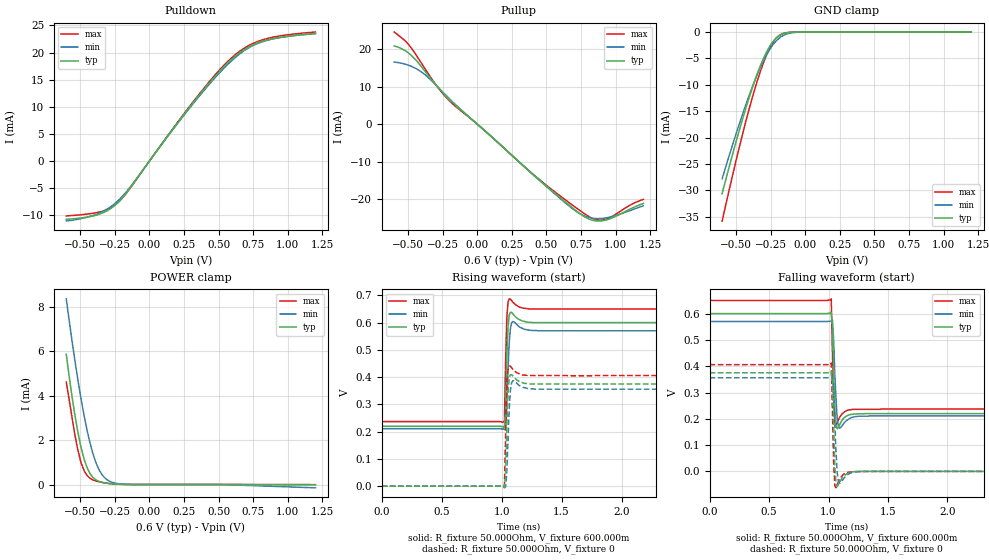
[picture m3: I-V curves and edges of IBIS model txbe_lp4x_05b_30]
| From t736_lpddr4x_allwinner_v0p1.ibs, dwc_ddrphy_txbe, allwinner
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[Model] txbe_lp4x_05b_30
Model_type   I/O
Polarity   Non-Inverting
Enable   Active-High
C_comp   1.525pF   1.517pF   1.533pF
C_comp_pullup   282.426fF   275.466fF   284.310fF
C_comp_pulldown 1.185pF   1.182pF   1.189pF
Vinh = 360.000mV
Vinl = 307.000mV
Vmeas = 300.000mV
Vref = 300.000mV
Rref = 50Ohms
Cref = 0pF
[Model Spec]
Vinh   360.000mV   345.000mV   450.000mV
Vinl   307.000mV   293.000mV   330.000mV
Vmeas   300.000mV   285.000mV   325.000mV
Vref   300.000mV   285.000mV   325.000mV
D_overshoot_ampl_h 0.1 NA   NA
D_overshoot_ampl_l 0.1 NA   NA
D_overshoot_area_l 300.000m NA   NA
D_overshoot_area_h 300.000m NA   NA
[Receiver Thresholds]
Vth = 163.000mV
Vth_min = 143.000mV
Vth_max = 150.000mV
Vinh_ac = 60.000mV
Vinh_dc = 60.000mV
Vinl_ac = -60.000mV
Vinl_dc = -60.000mV
Tslew_ac = 5.000ns
Threshold_sensitivity = 0.5
Reference_supply Pullup_ref
[Temperature Range]   25.000   125.000   -40.000
[Voltage Range]   600.000mV   570.000mV   650.000mV
[GND Clamp Reference]   0.00V   0.00V   0.00V
[C Comp Corner]
| variable   typ   min   max
C_comp 1.525pF   1.533pF   1.517pF
C_comp_pullup 282.426fF   284.310fF   275.466fF
C_comp_pulldown 1.182pF   1.189pF   1.185pF
[Pulldown Reference]   0.00V   0.00V   0.00V
[POWER Clamp Reference]   600.000mV   570.000mV   650.000mV
[Pullup Reference]   600.000mV   570.000mV   650.000mV
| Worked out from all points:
|   slope of the pulldown table from 0 to 0.09 V, typ, clamps not added: 28.5 ohm
|   slope of the pullup table from 0 to 0.09 V, typ, clamps not added: 30.6 ohm
|   GND clamp passes 1 mA (typ) near -0.20 V on its own axis
|   POWER clamp passes 1 mA (typ) near -0.46 V on its own axis
|   rising waveform, R_fixture 50.000Ohm, V_fixture 600.000m: 20-80 % time 14.4ps typ, 18.8ps min, 13.2ps max; typ from 0.22 V to 0.6 V
|   rising waveform, R_fixture 50.000Ohm, V_fixture 0: 20-80 % time 14.9ps typ, 18.4ps min, 13.6ps max; typ from 0 V to 0.375 V
|   falling waveform, R_fixture 50.000Ohm, V_fixture 600.000m: 20-80 % time 14.9ps typ, 19.3ps min, 13.4ps max; typ from 0.6 V to 0.22 V
|   falling waveform, R_fixture 50.000Ohm, V_fixture 0: 20-80 % time 14.7ps typ, 19.5ps min, 13ps max; typ from 0.375 V to 0 V
[GND Clamp]
-600mV    -30.61mA   -27.8mA    -35.78mA
-520mV    -22.73mA   -20.97mA   -26.64mA
-450mV    -16.28mA   -15.37mA   -19.1mA
-390mV    -11.21mA   -10.96mA   -13.16mA
-350mV    -8.181mA   -8.298mA   -9.582mA
-300mV    -4.923mA   -5.382mA   -5.708mA
-260mV    -2.864mA   -3.463mA   -3.244mA
-230mV    -1.706mA   -2.312mA   -1.856mA
-190mV    -705.6uA   -1.194mA   -684.3uA
-130mV    -123.8uA   -327.5uA   -84.42uA
-40mV     -3.823uA   -18.15uA   -1.471uA
1.2V      1.202uA    9.468uA    355.6nA
[Power Clamp]
-600mV    5.867mA    8.37mA     4.619mA
-560mV    4.027mA    6.539mA    3.087mA
-520mV    2.489mA    4.867mA    1.655mA
-500mV    1.861mA    4.102mA    1.131mA
-470mV    1.12mA     3.062mA    608.9uA
-430mV    508.3uA    1.908mA    287uA
-390mV    225.6uA    1.059mA    165.6uA
-340mV    92.46uA    430uA      93.34uA
-300mV    48.11uA    190.2uA    55.9uA
-170mV    2.644uA    10.51uA    3.018uA
530mV     -286.1nA   -4.802uA   -57.47nA
1.2V      -18.54uA   -150.4uA   -4.334uA
[Pulldown]
-600mV    -10.71mA   -11.03mA   -10.1mA
-370mV    -9.842mA   -9.659mA   -9.42mA
-300mV    -9.067mA   -8.75mA    -8.859mA
-230mV    -7.708mA   -7.383mA   -7.707mA
-150mV    -5.31mA    -5.136mA   -5.374mA
160mV     5.578mA    5.481mA    5.647mA
380mV     12.8mA     12.57mA    12.99mA
530mV     17.18mA    16.9mA     17.44mA
650mV     19.95mA    19.71mA    20.2mA
750mV     21.45mA    21.32mA    21.71mA
860mV     22.37mA    22.33mA    22.66mA
1.2V      23.5mA     23.51mA    23.8mA
[Pullup]
-600mV    20.84mA    16.55mA    24.54mA
-500mV    19.04mA    15.74mA    21.38mA
-410mV    15.62mA    14.07mA    16.62mA
-280mV    9.619mA    9.697mA    9.571mA
-190mV    6.119mA    6.36mA     5.813mA
400mV     -13.33mA   -13.36mA   -13.27mA
570mV     -18.7mA    -18.92mA   -18.33mA
700mV     -22.68mA   -22.87mA   -21.92mA
770mV     -24.59mA   -24.4mA    -23.77mA
860mV     -25.81mA   -25.17mA   -25.45mA
920mV     -25.63mA   -25.04mA   -25.41mA
1.2V      -21.14mA   -21.77mA   -20.06mA
[Ramp]
R_load=50.000Ohm
dV/dt_r   226.493mV/15.000ps  214.438mV/19.000ps  245.698mV/13.000ps
dV/dt_f   226.493mV/16.000ps  214.438mV/20.500ps  245.698mV/13.000ps
[Rising waveform]
R_fixture=50.000Ohm
V_fixture=600.000m
V_fixture_min=570.000m
V_fixture_max=650.000m
0s        220mV      211mV      237mV
1.023ns   214mV      208mV      239mV
1.033ns   289mV      208mV      455mV
1.043ns   470mV      295mV      616mV
1.053ns   583mV      424mV      674mV
1.063ns   627mV      524mV      687mV
1.073ns   638mV      578mV      686mV
1.093ns   632mV      604mV      675mV
1.303ns   600mV      570mV      650mV
10ns      600mV      570mV      650mV
[Rising waveform]
R_fixture=50.000Ohm
V_fixture=0
0s        23.32uV    205.4uV    5.525uV
1.023ns   -5.896mV   -2.79mV    1.24mV
1.033ns   43.03mV    -2.791mV   181mV
1.043ns   207mV      47.34mV    359mV
1.053ns   342mV      164mV      426mV
1.063ns   396mV      282mV      441mV
1.073ns   409mV      351mV      440mV
1.093ns   405mV      387mV      429mV
1.273ns   375mV      356mV      406mV
10ns      375mV      356mV      406mV
[Falling waveform]
R_fixture=50.000Ohm
V_fixture=600.000m
V_fixture_min=570.000m
V_fixture_max=650.000m
0s        600mV      570mV      650mV
1.023ns   606mV      572mV      656mV
1.033ns   543mV      576mV      449mV
1.043ns   376mV      501mV      280mV
1.053ns   243mV      370mV      187mV
1.063ns   174mV      278mV      176mV
1.073ns   162mV      202mV      185mV
1.093ns   177mV      164mV      205mV
1.343ns   220mV      211mV      236mV
10ns      220mV      211mV      237mV
[Falling waveform]
R_fixture=50.000Ohm
V_fixture=0
0s        375mV      356mV      406mV
1.023ns   380mV      358mV      412mV
1.033ns   326mV      363mV      224mV
1.043ns   167mV      297mV      37.48mV
1.053ns   22.47mV    184mV      -53.42mV
1.063ns   -45.6mV    75.76mV    -62.48mV
1.073ns   -57.44mV   -4.833mV   -52.84mV
1.093ns   -41.91mV   -45.33mV   -31.1mV
1.333ns   65.6uV     86.68uV    -76.84uV
10ns      23.82uV    205.5uV    6.536uV
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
